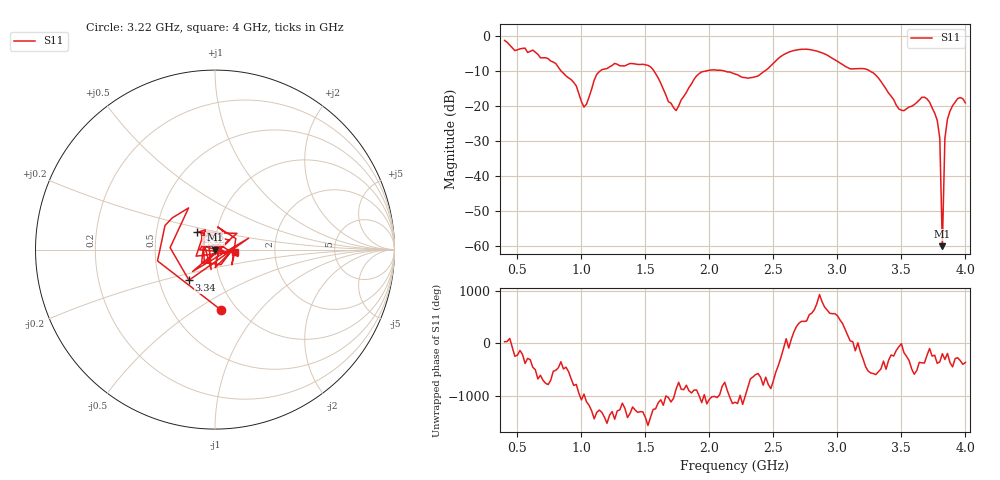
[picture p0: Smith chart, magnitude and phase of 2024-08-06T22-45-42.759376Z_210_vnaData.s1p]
!Created with skrf (http://scikit-rf.org).
# Hz S RI R 50.0
!freq ReS11 ImS11
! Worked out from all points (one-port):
!   181 points, 400 MHz to 4 GHz, reference 50 ohm
!   lowest |S11| = -60.1 dB at 3.82 GHz (marker M1), VSWR 1.00, Z = 49.9 + j0.0343 ohm
!   |S11| at or under -10 dB: 1.566 GHz to 1.98 GHz (413.5 MHz wide, 23.3 % of centre); 2.114 GHz to 2.434 GHz (319.6 MHz wide, 14.1 % of centre); 3.252 GHz to end of sweep (the widest 3 of 4)
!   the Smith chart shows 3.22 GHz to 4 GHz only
!   S11 on the Smith chart (normalised r, x): 3.22 GHz: 0.84, -0.64; 3.34 GHz: 0.71, -0.25; 3.42 GHz: 0.81, +0.16; 4 GHz: 1.25, -0.03
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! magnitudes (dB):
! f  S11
! 400 MHz  -1.3
! 860 MHz  -10.7
! 960 MHz  -14.3
! 1.02 GHz  -20.4
! 1.12 GHz  -11.0
! 1.3 GHz  -8.5
! 1.54 GHz  -8.8
! 1.68 GHz  -18.8
! 1.76 GHz  -20.0
! 1.94 GHz  -10.3
! 2.2 GHz  -10.9
! 2.38 GHz  -11.5
! 2.66 GHz  -4.2
! 2.86 GHz  -4.6
! 3.1 GHz  -9.4
! 3.22 GHz  -9.5
! 3.34 GHz  -13.0
! 3.42 GHz  -17.2
! 3.48 GHz  -20.9
! 3.56 GHz  -20.3
! 3.68 GHz  -17.5
! 3.78 GHz  -24.1
! 3.8 GHz  -29.3
! 3.82 GHz  -60.1
! 3.84 GHz  -29.2
! 3.86 GHz  -23.8
! 3.94 GHz  -17.9
! 4 GHz  -19.2
